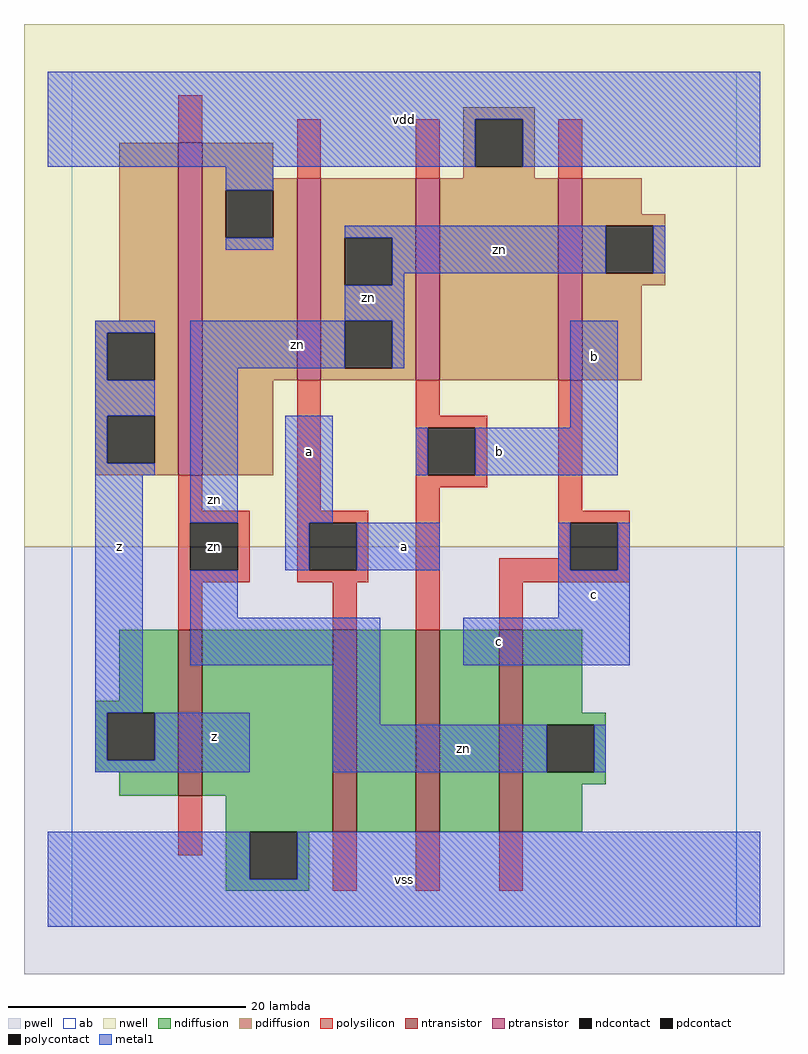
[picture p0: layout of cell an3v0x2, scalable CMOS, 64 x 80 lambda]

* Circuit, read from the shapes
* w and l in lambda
.subckt an3v0x2 a b c vdd vss z zn
M1 vss zn z VSUBS nfet w=14 l=2
M2 n1 a vss VSUBS nfet w=17 l=2
M3 n2 b n1 VSUBS nfet w=17 l=2
M4 zn c n2 VSUBS nfet w=17 l=2
M5 vdd zn z n3 pfet w=28 l=2
M6 zn a vdd n3 pfet w=17 l=2
M7 vdd b zn n3 pfet w=17 l=2
M8 zn c vdd n3 pfet w=17 l=2
.ends

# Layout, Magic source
magic
tech scmos
<< ab >>
rect 0 0 56 72
<< pwell >>
rect -4 -4 60 32
<< nwell >>
rect -4 32 60 76
<< polysilicon >>
rect 9 66 11 70
rect 19 63 21 68
rect 29 63 31 68
rect 41 63 43 68
rect 9 35 11 38
rect 19 35 21 46
rect 29 43 31 46
rect 29 42 35 43
rect 29 38 30 42
rect 34 38 35 42
rect 29 37 35 38
rect 9 34 15 35
rect 9 30 10 34
rect 14 30 15 34
rect 9 29 15 30
rect 19 34 25 35
rect 19 30 20 34
rect 24 30 25 34
rect 19 29 25 30
rect 9 25 11 29
rect 22 25 24 29
rect 29 25 31 37
rect 41 35 43 46
rect 41 34 47 35
rect 41 31 42 34
rect 36 30 42 31
rect 46 30 47 34
rect 36 29 47 30
rect 36 25 38 29
rect 9 6 11 11
rect 22 3 24 8
rect 29 3 31 8
rect 36 3 38 8
<< ndiffusion >>
rect 4 19 9 25
rect 2 18 9 19
rect 2 14 3 18
rect 7 14 9 18
rect 2 13 9 14
rect 4 11 9 13
rect 11 11 22 25
rect 13 8 22 11
rect 24 8 29 25
rect 31 8 36 25
rect 38 18 43 25
rect 38 17 45 18
rect 38 13 40 17
rect 44 13 45 17
rect 38 12 45 13
rect 38 8 43 12
rect 13 4 15 8
rect 19 4 20 8
rect 13 3 20 4
<< pdiffusion >>
rect 33 68 39 69
rect 4 51 9 66
rect 2 50 9 51
rect 2 46 3 50
rect 7 46 9 50
rect 2 43 9 46
rect 2 39 3 43
rect 7 39 9 43
rect 2 38 9 39
rect 11 63 17 66
rect 33 64 34 68
rect 38 64 39 68
rect 33 63 39 64
rect 11 62 19 63
rect 11 58 13 62
rect 17 58 19 62
rect 11 46 19 58
rect 21 58 29 63
rect 21 54 23 58
rect 27 54 29 58
rect 21 51 29 54
rect 21 47 23 51
rect 27 47 29 51
rect 21 46 29 47
rect 31 46 41 63
rect 43 60 48 63
rect 43 59 50 60
rect 43 55 45 59
rect 49 55 50 59
rect 43 54 50 55
rect 43 46 48 54
rect 11 38 17 46
<< metal1 >>
rect -2 68 58 72
rect -2 64 34 68
rect 38 64 58 68
rect 13 62 17 64
rect 13 57 17 58
rect 23 58 45 59
rect 27 55 45 58
rect 49 55 50 59
rect 27 54 28 55
rect 23 51 28 54
rect 2 50 7 51
rect 2 46 3 50
rect 2 43 7 46
rect 2 39 3 43
rect 2 38 7 39
rect 10 47 23 51
rect 27 47 28 51
rect 2 18 6 38
rect 10 34 14 47
rect 18 34 22 43
rect 42 42 46 51
rect 29 38 30 42
rect 34 38 46 42
rect 18 30 20 34
rect 24 30 31 34
rect 41 30 42 34
rect 46 30 47 34
rect 10 26 14 30
rect 41 26 47 30
rect 10 22 26 26
rect 33 22 47 26
rect 2 14 3 18
rect 7 14 15 18
rect 2 13 15 14
rect 22 17 26 22
rect 22 13 40 17
rect 44 13 45 17
rect -2 4 15 8
rect 19 4 58 8
rect -2 0 58 4
<< ntransistor >>
rect 9 11 11 25
rect 22 8 24 25
rect 29 8 31 25
rect 36 8 38 25
<< ptransistor >>
rect 9 38 11 66
rect 19 46 21 63
rect 29 46 31 63
rect 41 46 43 63
<< polycontact >>
rect 30 38 34 42
rect 10 30 14 34
rect 20 30 24 34
rect 42 30 46 34
<< ndcontact >>
rect 3 14 7 18
rect 40 13 44 17
rect 15 4 19 8
<< pdcontact >>
rect 3 46 7 50
rect 3 39 7 43
rect 34 64 38 68
rect 13 58 17 62
rect 23 54 27 58
rect 23 47 27 51
rect 45 55 49 59
<< labels >>
rlabel polycontact 12 32 12 32 6 zn
rlabel metal1 4 32 4 32 6 z
rlabel metal1 12 16 12 16 6 z
rlabel metal1 20 40 20 40 6 a
rlabel metal1 12 36 12 36 6 zn
rlabel metal1 28 4 28 4 6 vss
rlabel metal1 28 32 28 32 6 a
rlabel metal1 36 24 36 24 6 c
rlabel metal1 36 40 36 40 6 b
rlabel metal1 19 49 19 49 6 zn
rlabel metal1 25 53 25 53 6 zn
rlabel metal1 28 68 28 68 6 vdd
rlabel metal1 33 15 33 15 6 zn
rlabel metal1 44 28 44 28 6 c
rlabel metal1 44 48 44 48 6 b
rlabel metal1 36 57 36 57 6 zn
<< end >>
